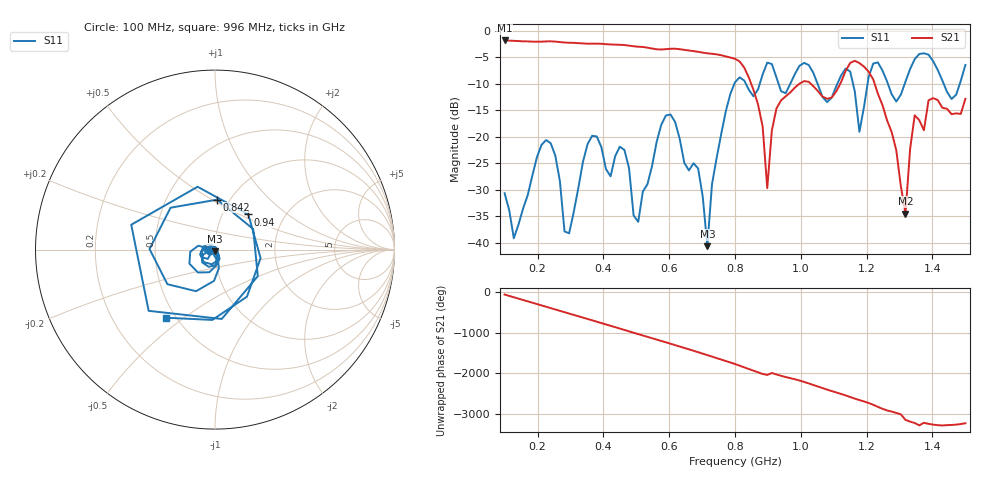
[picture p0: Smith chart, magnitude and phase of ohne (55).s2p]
! NanoVNA-App
! Date: 2025-09-25 14:21:14
! Start: 100MHz Stop: 1,5GHz Points: 101
! S-Parameter data: F S11 S21 S12 S22
# Hz S RI R 50
!  Frequency  S11_Real  S11_Imag  S21_Real  S21_Imag  S12_Real  S12_Imag  S22_Real  S22_Imag
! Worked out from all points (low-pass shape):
!   101 points, 100 MHz to 1.5 GHz, reference 50 ohm
!   highest |S21| = -1.79 dB at 100 MHz (marker M1); lowest = -34.5 dB at 1.318 GHz (marker M2)
!   |S21| within 3 dB of the highest: start of sweep to 771.1 MHz
!   lowest |S11| = -40.6 dB at 716 MHz (marker M3), VSWR 1.02, Z = 49.7 - j0.886 ohm
!   |S11| at or under -10 dB: start of sweep to 798 MHz; 833.1 MHz to 875.1 MHz (42 MHz wide, 4.92 % of centre); 1.051 GHz to 1.111 GHz (59.81 MHz wide, 5.53 % of centre) (the widest 3 of 7)
!   S12 and S22 are empty: the file has one direction only
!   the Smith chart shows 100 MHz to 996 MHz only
!   S11 on the Smith chart (normalised r, x): 100 MHz: 0.94, -0.01; 842 MHz: 0.88, +0.53; 940 MHz: 1.32, +0.56; 996 MHz: 0.44, -0.43
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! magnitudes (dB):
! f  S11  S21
! 100 MHz  -30.6  -1.8
! 128 MHz  -39.1  -1.9
! 226 MHz  -20.6  -2.0
! 296 MHz  -38.2  -2.2
! 338 MHz  -24.7  -2.4
! 464 MHz  -22.5  -2.7
! 506 MHz  -36.0  -3.0
! 576 MHz  -17.7  -3.5
! 688 MHz  -26.0  -3.9
! 716 MHz  -40.6  -4.2
! 800 MHz  -9.7  -5.3
! 842 MHz  -11.1  -8.8
! 898 MHz  -6.0  -29.7
! 940 MHz  -11.4  -13.1
! 996 MHz  -6.6  -10.0
! 1.038 GHz  -7.9  -10.4
! 1.178 GHz  -19.1  -6.1
! 1.22 GHz  -6.2  -9.2
! 1.276 GHz  -11.9  -19.1
! 1.318 GHz  -9.6  -34.5
! 1.346 GHz  -5.3  -15.9
! 1.5 GHz  -6.4  -12.8
